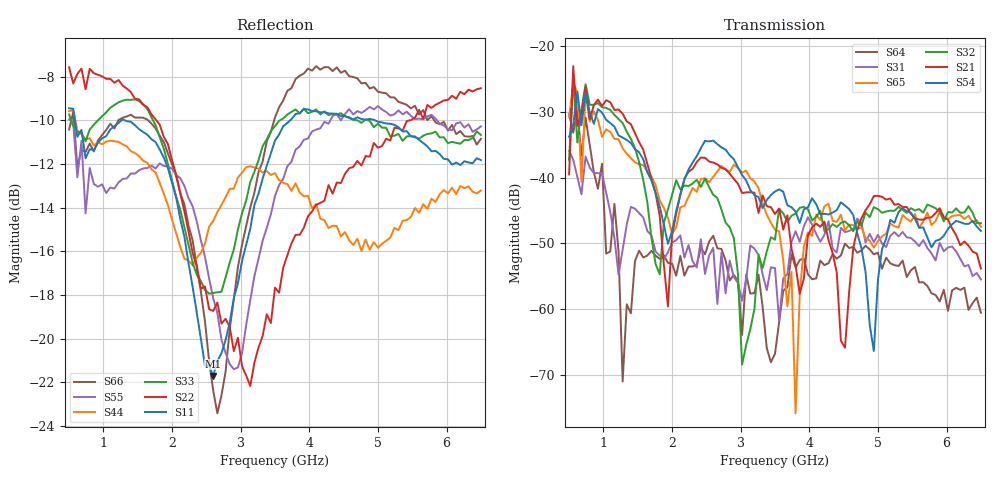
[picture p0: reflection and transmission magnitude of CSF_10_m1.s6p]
!Keysight Technologies,M9804A,MY58100912,A.14.10.03
!Date: Thursday, April 27, 2023 10:28:33
!Correction: S11(C  6-Port  )
!S12(C  6-Port  )
!S13(C  6-Port  )
!S14(C  6-Port  )
!S15(C  6-Port  )
!S16(C  6-Port  )
!S21(C  6-Port  )
!S22(C  6-Port  )
!S23(C  6-Port  )
!S24(C  6-Port  )
!S25(C  6-Port  )
!S26(C  6-Port  )
!S31(C  6-Port  )
!S32(C  6-Port  )
!S33(C  6-Port  )
!S34(C  6-Port  )
!S35(C  6-Port  )
!S36(C  6-Port  )
!S41(C  6-Port  )
!S42(C  6-Port  )
!S43(C  6-Port  )
!S44(C  6-Port  )
!S45(C  6-Port  )
!S46(C  6-Port  )
!S51(C  6-Port  )
!S52(C  6-Port  )
!S53(C  6-Port  )
!S54(C  6-Port  )
!S55(C  6-Port  )
!S56(C  6-Port  )
!S61(C  6-Port  )
!S62(C  6-Port  )
!S63(C  6-Port  )
!S64(C  6-Port  )
!S65(C  6-Port  )
!S66(C  6-Port  )
!S6P File: Measurement: :
# Hz S  RI  R 50
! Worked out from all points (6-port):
!   101 points, 500 MHz to 6.5 GHz, reference 50 ohm
!   strongest paths, dB at 500 MHz, 2 GHz, 3.5 GHz, 5 GHz, 6.5 GHz:
!     S54: -33.8, -48.1, -42.1, -55.5, -48.1
!     S21: -39.5, -48.8, -45.5, -42.8, -53.8
!     S32: -37.3, -42.6, -49.4, -44.8, -46.9
!     S65: -30.8, -48.5, -47.9, -49.6, -47.5
!     S31: -35.9, -49.8, -53.7, -48.7, -55.5
!     S64: -30.3, -53.1, -66.8, -51.4, -60.5
!   lowest |S11| = -21.7 dB at 2.6 GHz (marker M1), VSWR 1.18, Z = 42.7 + j1.99 ohm
!   |S11| at or under -10 dB: 584.7 MHz to 1.263 GHz (678.1 MHz wide, 73.4 % of centre); 1.313 GHz to 3.72 GHz (2.408 GHz wide, 95.7 % of centre); 4.959 GHz to end of sweep
